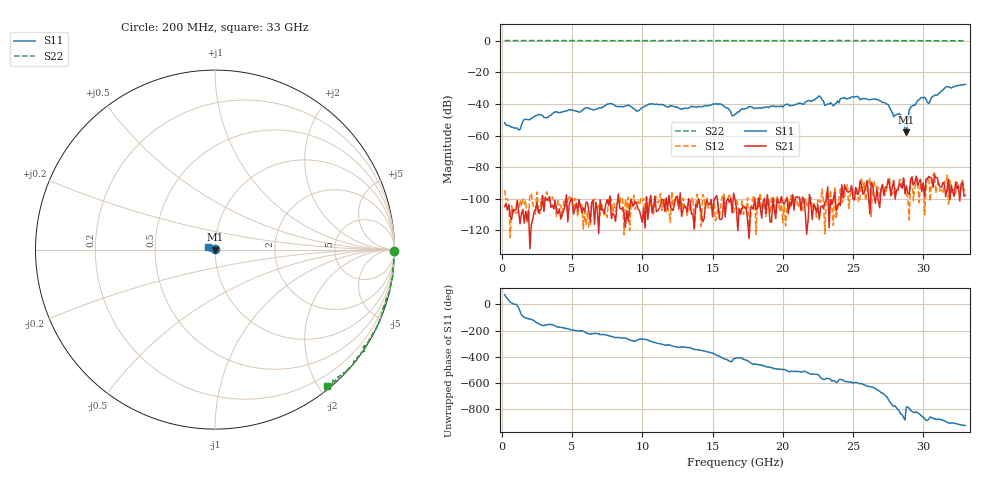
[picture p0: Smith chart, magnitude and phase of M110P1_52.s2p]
# GHZ S RI R 50
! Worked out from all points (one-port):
!   329 points, 200 MHz to 33 GHz, reference 50 ohm
!   lowest |S11| = -58.0 dB at 28.8 GHz (marker M1), VSWR 1.00, Z = 50.1 - j0.111 ohm
!   |S11| at or under -10 dB: start of sweep to end of sweep
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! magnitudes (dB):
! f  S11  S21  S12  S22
! 200 MHz  -51.9  -105.0  -94.4  0.0
! 1.2 GHz  -56.4  -108.1  -106.4  0.0
! 1.6 GHz  -49.9  -115.4  -103.3  0.0
! 2.6 GHz  -46.9  -109.0  -107.3  0.0
! 5.7 GHz  -44.3  -108.8  -103.6  0.0
! 11.2 GHz  -40.4  -106.3  -101.1  0.0
! 15.5 GHz  -40.0  -112.8  -111.1  0.0
! 16.6 GHz  -46.7  -100.2  -105.0  0.0
! 22.1 GHz  -38.0  -113.0  -105.8  0.0
! 22.6 GHz  -34.9  -113.1  -101.6  -0.1
! 23 GHz  -41.1  -102.1  -122.1  0.0
! 23.6 GHz  -41.3  -99.9  -116.8  0.0
! 25.3 GHz  -35.3  -97.2  -93.5  0.0
! 27.6 GHz  -42.2  -90.6  -86.5  0.0
! 27.9 GHz  -48.2  -88.4  -95.2  0.0
! 28.6 GHz  -49.5  -86.9  -87.1  -0.1
! 28.8 GHz  -58.0  -91.8  -97.3  -0.1
! 29 GHz  -44.0  -97.3  -113.3  0.0
! 29.8 GHz  -36.5  -87.7  -90.1  -0.1
! 30.4 GHz  -39.8  -85.8  -86.7  -0.1
! 31.6 GHz  -29.3  -98.7  -89.9  -0.2
! 33 GHz  -27.8  -97.8  -94.4  -0.1
